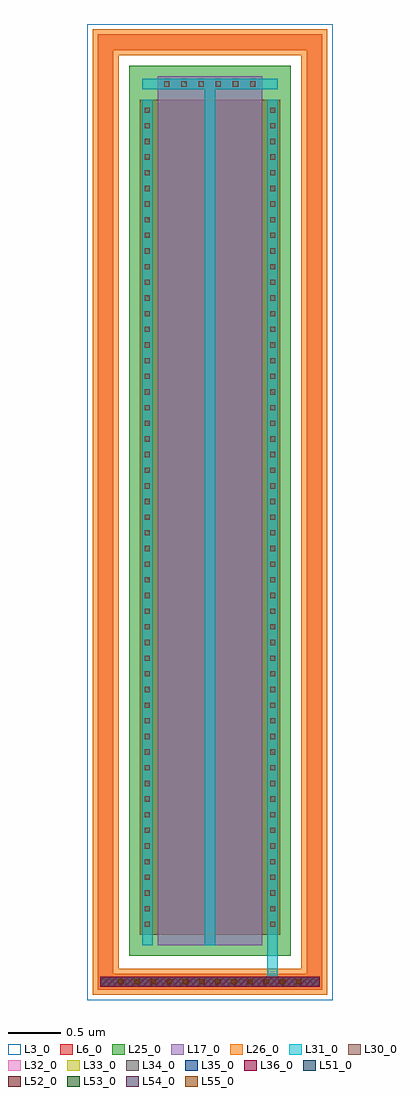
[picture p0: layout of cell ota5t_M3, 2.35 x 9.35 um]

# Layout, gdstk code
import gdstk
lib = gdstk.Library(unit=1e-6, precision=1e-09)
def R(c, l, rs):  # rectangles x0, y0, x1, y1
    for r in rs: c.add(gdstk.rectangle(r[:2], r[2:], *l))
def A(c, l, x, y, w, h, nx, ny, dx, dy):  # array of equal rectangles
    R(c, l, [(x+i*dx, y+j*dy, x+i*dx+w, y+j*dy+h) for i in range(nx) for j in range(ny)])
L3_0 = (3, 0)
L6_0 = (6, 0)
L17_0 = (17, 0)
L25_0 = (25, 0)
L26_0 = (26, 0)
L30_0 = (30, 0)
L31_0 = (31, 0)
L32_0 = (32, 0)
L33_0 = (33, 0)
L34_0 = (34, 0)
L35_0 = (35, 0)
L36_0 = (36, 0)
L51_0 = (51, 0)
L52_0 = (52, 0)
L53_0 = (53, 0)
L54_0 = (54, 0)
L55_0 = (55, 0)

ota5t_m3 = lib.new_cell('ota5t_M3')
R(ota5t_m3, L3_0, [(-0.575,-0.575,1.775,8.775), (-0.125,-0.1,1.325,8.2)])
R(ota5t_m3, L6_0, [(-0.475,-0.475,-0.325,-0.325), (-0.325,-0.475,1.525,-0.325), (1.525,-0.475,1.675,-0.325), (-0.475,-0.325,-0.325,8.525), (1.525,-0.325,1.675,8.525), (-0.075,0.05,1.275,8.05), (-0.475,8.525,-0.325,8.675), (-0.325,8.525,1.525,8.675), (1.525,8.525,1.675,8.675)])
R(ota5t_m3, L17_0, [(0.1,-0.05,1.1,8.15), (0.1,8.05,1.1,8.275)])
R(ota5t_m3, L25_0, [(-0.175,-0.15,1.375,8.375)])
R(ota5t_m3, L26_0, [(-0.525,-0.525,-0.275,-0.275), (-0.325,-0.525,1.525,-0.275), (1.475,-0.525,1.725,-0.275), (-0.525,-0.325,-0.275,8.525), (1.475,-0.325,1.725,8.525), (-0.525,8.475,-0.275,8.725), (-0.325,8.475,1.525,8.725), (1.475,8.475,1.725,8.725)])
A(ota5t_m3, L30_0, -0.25, -0.425, 0.05, 0.05, 12, 1, 0.15, 0)
A(ota5t_m3, L30_0, -0.025, 0.125, 0.05, 0.05, 1, 53, 0, 0.15)
A(ota5t_m3, L30_0, 1.175, 0.125, 0.05, 0.05, 1, 53, 0, 0.15)
A(ota5t_m3, L30_0, 0.16, 8.175, 0.05, 0.05, 6, 1, 0.165, 0)
R(ota5t_m3, L31_0, [(-0.45,-0.45,-0.35,-0.35), (-0.35,-0.45,-0.325,-0.35), (-0.325,-0.45,1.525,-0.35), (1.15,-0.45,1.25,-0.05), (1.525,-0.45,1.55,-0.35), (1.55,-0.45,1.65,-0.35), (-0.05,-0.05,0.05,8.05), (0.55,-0.05,0.65,8.25), (1.15,-0.05,1.25,8.05), (-0.05,0.05,0.05,8.05), (1.15,0.05,1.25,8.05), (-0.05,8.15,1.25,8.25), (0.1,8.15,1.1,8.25)])
R(ota5t_m3, L32_0, [(-0.45,-0.45,-0.35,-0.35), (-0.35,-0.45,-0.325,-0.35), (-0.325,-0.45,1.525,-0.35), (1.525,-0.45,1.55,-0.35), (1.55,-0.45,1.65,-0.35)])
R(ota5t_m3, L33_0, [(-0.45,-0.45,-0.35,-0.35), (-0.35,-0.45,-0.325,-0.35), (-0.325,-0.45,1.525,-0.35), (1.525,-0.45,1.55,-0.35), (1.55,-0.45,1.65,-0.35)])
R(ota5t_m3, L34_0, [(-0.45,-0.45,-0.35,-0.35), (-0.35,-0.45,-0.325,-0.35), (-0.325,-0.45,1.525,-0.35), (1.525,-0.45,1.55,-0.35), (1.55,-0.45,1.65,-0.35)])
R(ota5t_m3, L35_0, [(-0.45,-0.45,-0.35,-0.35), (-0.35,-0.45,-0.325,-0.35), (-0.325,-0.45,1.525,-0.35), (1.525,-0.45,1.55,-0.35), (1.55,-0.45,1.65,-0.35)])
R(ota5t_m3, L36_0, [(-0.45,-0.45,-0.35,-0.35), (-0.35,-0.45,-0.325,-0.35), (-0.325,-0.45,1.525,-0.35), (1.525,-0.45,1.55,-0.35), (1.55,-0.45,1.65,-0.35)])
A(ota5t_m3, L51_0, -0.28, -0.425, 0.05, 0.05, 12, 1, 0.155, 0)
A(ota5t_m3, L52_0, -0.28, -0.425, 0.05, 0.05, 12, 1, 0.155, 0)
A(ota5t_m3, L53_0, -0.28, -0.425, 0.05, 0.05, 12, 1, 0.155, 0)
A(ota5t_m3, L54_0, -0.28, -0.425, 0.05, 0.05, 12, 1, 0.155, 0)
A(ota5t_m3, L55_0, -0.28, -0.425, 0.05, 0.05, 12, 1, 0.155, 0)

lib.write_gds('ota5t_M3.gds')
